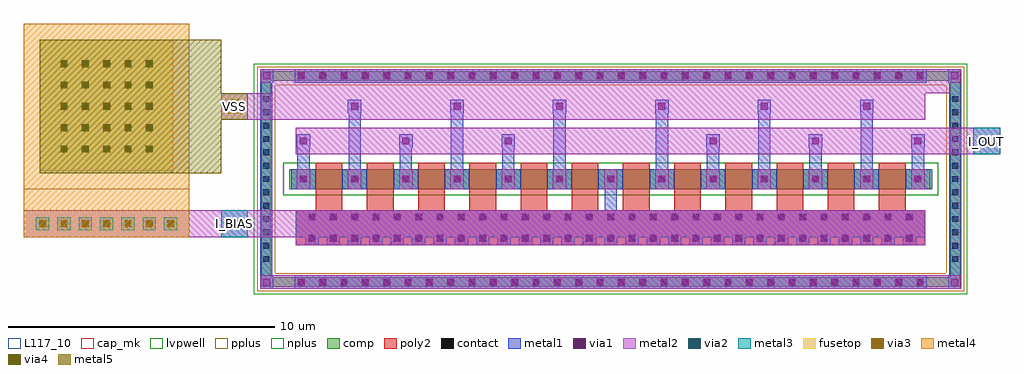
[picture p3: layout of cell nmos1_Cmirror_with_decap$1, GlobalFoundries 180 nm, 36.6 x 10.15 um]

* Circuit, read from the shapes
.subckt nmos1_Cmirror_with_decap$1 I_BIAS I_OUT VSS
XM1 VSS I_BIAS I_OUT VSS nfet_03v3 w=0.75u l=1u m=10
XM2 I_BIAS I_BIAS VSS VSS nfet_03v3 w=0.75u l=1u m=2
XC3 VSS I_BIAS cap_mim_2f0fF c_width=5u c_length=5u
.ends

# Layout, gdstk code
import gdstk
lib = gdstk.Library(unit=1e-6, precision=1e-09)
def R(c, l, rs):  # rectangles x0, y0, x1, y1
    for r in rs: c.add(gdstk.rectangle(r[:2], r[2:], *l))
def A(c, l, x, y, w, h, nx, ny, dx, dy):  # array of equal rectangles
    R(c, l, [(x+i*dx, y+j*dy, x+i*dx+w, y+j*dy+h) for i in range(nx) for j in range(ny)])
def P(c, l, *ps):  # polygons
    for p in ps: c.add(gdstk.Polygon(p, *l))
comp = (22, 0)
poly2 = (30, 0)
pplus = (31, 0)
nplus = (32, 0)
contact = (33, 0)
metal1 = (34, 0)
via1 = (35, 0)
metal2 = (36, 0)
via2 = (38, 0)
via3 = (40, 0)
via4 = (41, 0)
metal3 = (42, 0)
metal4 = (46, 0)
fusetop = (75, 0)
metal5 = (81, 0)
cap_mk = (117, 5)
L117_10 = (117, 10)
lvpwell = (204, 0)

cmirror_interdigitized_1 = lib.new_cell('cmirror_interdigitized$1$1')
A(cmirror_interdigitized_1, comp, -11.78, -4.045, 0.36, 0.36, 30, 2, 0.8, 7.73)
A(cmirror_interdigitized_1, comp, -13.1, -3.18, 0.36, 0.36, 1, 13, 0, 0.5)
A(cmirror_interdigitized_1, comp, 12.74, -3.18, 0.36, 0.36, 1, 13, 0, 0.5)
R(cmirror_interdigitized_1, comp, [(-11.78,-4.045,11.78,-3.685), (-13.1,-3.18,-12.74,3.18), (12.74,-3.18,13.1,3.18), (-12.05,-0.375,12.05,0.375), (-11.78,3.685,11.78,4.045)])
P(cmirror_interdigitized_1, comp, [(-13.1,-4.045),(-13.1,-3.685),(12.74,-3.685),(12.74,3.685),(-12.74,3.685),(-12.74,-3.685),(-13.1,-3.685),(-13.1,4.045),(13.1,4.045),(13.1,-4.045)])
A(cmirror_interdigitized_1, poly2, -11.38, -2.405, 0.36, 0.36, 29, 2, 0.8, 0.8)
A(cmirror_interdigitized_1, poly2, -11.06, -1.18, 1, 0.565, 12, 1, 1.92, 0)
A(cmirror_interdigitized_1, poly2, -11.06, -0.615, 1, 1.23, 12, 1, 1.92, 0)
R(cmirror_interdigitized_1, poly2, [(-11.8,-2.475,11.8,-1.175)])
P(cmirror_interdigitized_1, pplus, [(-13.26,-4.205),(-13.26,-3.525),(12.58,-3.525),(12.58,3.525),(-12.58,3.525),(-12.58,-3.525),(-13.26,-3.525),(-13.26,4.205),(13.26,4.205),(13.26,-4.205)])
R(cmirror_interdigitized_1, nplus, [(-12.28,-0.605,12.28,0.605)])
A(cmirror_interdigitized_1, contact, -11.71, -3.975, 0.22, 0.22, 30, 2, 0.8, 7.73)
A(cmirror_interdigitized_1, contact, -13.03, -3.11, 0.22, 0.22, 1, 13, 0, 0.5)
A(cmirror_interdigitized_1, contact, 12.81, -3.11, 0.22, 0.22, 1, 13, 0, 0.5)
A(cmirror_interdigitized_1, contact, -11.31, -2.335, 0.22, 0.22, 29, 2, 0.8, 0.8)
A(cmirror_interdigitized_1, contact, -11.63, -0.11, 0.22, 0.22, 13, 1, 1.92, 0)
A(cmirror_interdigitized_1, metal1, -11.85, -4.115, 0.5, 0.5, 30, 2, 0.8, 7.73)
A(cmirror_interdigitized_1, metal1, -13.15, -3.23, 0.46, 0.46, 1, 13, 0, 0.5)
A(cmirror_interdigitized_1, metal1, 12.69, -3.23, 0.46, 0.46, 1, 13, 0, 0.5)
A(cmirror_interdigitized_1, metal1, -11.45, -2.475, 0.5, 0.5, 29, 2, 0.8, 0.8)
A(cmirror_interdigitized_1, metal1, -11.98, -0.375, 0.92, 0.75, 13, 1, 1.92, 0)
A(cmirror_interdigitized_1, metal1, -11.75, -0.23, 0.46, 0.46, 13, 1, 1.92, 0)
A(cmirror_interdigitized_1, metal1, -11.75, 0.375, 0.46, 1.3, 3, 1, 3.84, 0)
A(cmirror_interdigitized_1, metal1, -9.83, 0.375, 0.46, 2.6, 6, 1, 3.84, 0)
A(cmirror_interdigitized_1, metal1, 3.61, 0.375, 0.46, 1.3, 3, 1, 3.84, 0)
A(cmirror_interdigitized_1, metal1, -11.77, 1.175, 0.5, 0.5, 3, 1, 3.84, 0)
A(cmirror_interdigitized_1, metal1, 3.59, 1.175, 0.5, 0.5, 3, 1, 3.84, 0)
A(cmirror_interdigitized_1, metal1, -9.85, 2.475, 0.5, 0.5, 6, 1, 3.84, 0)
R(cmirror_interdigitized_1, metal1, [(-13.15,-4.115,-12.65,-3.615), (-13.15,-4.115,-12.65,-3.615), (-13.15,-4.115,-12.69,-3.685), (-11.85,-4.115,11.85,-3.615), (12.65,-4.115,13.15,-3.615), (12.65,-4.115,13.15,-3.615), (12.69,-4.115,13.15,-3.685), (-13.15,-3.685,-12.69,3.685), (12.69,-3.685,13.15,3.685), (-11.8,-2.175,11.8,-1.175), (-0.23,-1.175,0.23,-0.375), (-11.77,-0.25,-11.27,0.25), (-11.77,-0.25,-11.27,0.25), (-9.85,-0.25,-9.35,0.25), (-9.85,-0.25,-9.35,0.25), (-7.93,-0.25,-7.43,0.25), (-7.93,-0.25,-7.43,0.25), (-6.01,-0.25,-5.51,0.25), (-6.01,-0.25,-5.51,0.25), (-4.09,-0.25,-3.59,0.25), (-4.09,-0.25,-3.59,0.25), (-2.17,-0.25,-1.67,0.25), (-2.17,-0.25,-1.67,0.25), (-0.25,-0.25,0.25,0.25), (-0.25,-0.25,0.25,0.25), (1.67,-0.25,2.17,0.25), (1.67,-0.25,2.17,0.25), (3.59,-0.25,4.09,0.25), (3.59,-0.25,4.09,0.25), (5.51,-0.25,6.01,0.25), (5.51,-0.25,6.01,0.25), (7.43,-0.25,7.93,0.25), (7.43,-0.25,7.93,0.25), (9.35,-0.25,9.85,0.25), (9.35,-0.25,9.85,0.25), (11.27,-0.25,11.77,0.25), (11.27,-0.25,11.77,0.25), (-13.15,3.615,-12.65,4.115), (-13.15,3.615,-12.65,4.115), (-11.85,3.615,11.85,4.115), (12.65,3.615,13.15,4.115), (12.65,3.615,13.15,4.115), (-13.15,3.685,-12.69,4.115), (12.69,3.685,13.15,4.115)])
A(cmirror_interdigitized_1, via1, -11.73, -3.995, 0.26, 0.26, 30, 2, 0.8, 7.73)
A(cmirror_interdigitized_1, via1, -11.33, -2.355, 0.26, 0.26, 29, 2, 0.8, 0.8)
A(cmirror_interdigitized_1, via1, -11.65, -0.13, 0.26, 0.26, 13, 1, 1.92, 0)
A(cmirror_interdigitized_1, via1, -11.65, 1.295, 0.26, 0.26, 3, 1, 3.84, 0)
A(cmirror_interdigitized_1, via1, 3.71, 1.295, 0.26, 0.26, 3, 1, 3.84, 0)
A(cmirror_interdigitized_1, via1, -9.73, 2.595, 0.26, 0.26, 6, 1, 3.84, 0)
R(cmirror_interdigitized_1, via1, [(-13.03,-3.995,-12.77,-3.735), (12.77,-3.995,13.03,-3.735), (-13.03,3.735,-12.77,3.995), (12.77,3.735,13.03,3.995)])
A(cmirror_interdigitized_1, metal2, -11.85, -4.115, 0.5, 0.5, 30, 2, 0.8, 7.73)
A(cmirror_interdigitized_1, metal2, -11.45, -2.475, 0.5, 0.5, 29, 2, 0.8, 0.8)
A(cmirror_interdigitized_1, metal2, -11.77, -0.375, 0.5, 0.75, 13, 1, 1.92, 0)
A(cmirror_interdigitized_1, metal2, -11.77, -0.25, 0.5, 0.5, 13, 1, 1.92, 0)
A(cmirror_interdigitized_1, metal2, -11.77, 1.175, 0.5, 0.5, 3, 1, 3.84, 0)
A(cmirror_interdigitized_1, metal2, 3.59, 1.175, 0.5, 0.5, 3, 1, 3.84, 0)
A(cmirror_interdigitized_1, metal2, -9.85, 2.475, 0.5, 0.5, 6, 1, 3.84, 0)
R(cmirror_interdigitized_1, metal2, [(-13.15,-4.115,-12.65,-3.615), (-13.15,-4.115,-12.65,-3.615), (-13.15,-4.115,-12.74,-3.615), (-12.74,-4.115,12.74,-3.615), (12.65,-4.115,13.15,-3.615), (12.65,-4.115,13.15,-3.615), (12.74,-4.115,13.15,-3.615), (-11.8,-2.475,11.8,-1.175), (-11.8,-2.175,11.8,-1.175), (-11.8,0.925,11.8,1.925), (-11.8,2.225,11.8,3.225), (-12.74,3.225,12.74,4.115), (-13.15,3.615,-12.65,4.115), (-13.15,3.615,-12.65,4.115), (-13.15,3.615,-12.74,4.115), (-12.74,3.615,12.74,4.115), (12.65,3.615,13.15,4.115), (12.65,3.615,13.15,4.115), (12.74,3.615,13.15,4.115)])
R(cmirror_interdigitized_1, lvpwell, [(-13.38,-4.325,13.38,4.325)])

via_array_6f2c13fe = lib.new_cell('via_array_6f2c13fe')
R(via_array_6f2c13fe, metal2, [(-0.5,-0.5,0.5,0.5), (-0.25,-0.25,0.25,0.25)])
R(via_array_6f2c13fe, via2, [(-0.13,-0.13,0.13,0.13)])
R(via_array_6f2c13fe, metal3, [(-0.5,-0.5,0.5,0.5), (-0.25,-0.25,0.25,0.25)])

via_array_6f2c13fe_1 = lib.new_cell('via_array_6f2c13fe$1')
R(via_array_6f2c13fe_1, metal2, [(-0.5,-0.5,0.5,0.5), (-0.25,-0.25,0.25,0.25)])
R(via_array_6f2c13fe_1, via2, [(-0.13,-0.13,0.13,0.13)])
R(via_array_6f2c13fe_1, metal3, [(-0.5,-0.5,0.5,0.5), (-0.25,-0.25,0.25,0.25)])

via_array_3a42d9f3 = lib.new_cell('via_array_3a42d9f3')
R(via_array_3a42d9f3, metal2, [(-0.5,-0.5,0.5,0.5), (-0.25,-0.25,0.25,0.25)])
R(via_array_3a42d9f3, via2, [(-0.13,-0.13,0.13,0.13)])
R(via_array_3a42d9f3, via3, [(-0.13,-0.13,0.13,0.13)])
R(via_array_3a42d9f3, via4, [(-0.13,-0.13,0.13,0.13)])
R(via_array_3a42d9f3, metal3, [(-0.25,-0.25,0.25,0.25)])
R(via_array_3a42d9f3, metal4, [(-0.25,-0.25,0.25,0.25)])
R(via_array_3a42d9f3, metal5, [(-0.5,-0.5,0.5,0.5), (-0.25,-0.25,0.25,0.25)])

straight_route_e8dce293_ = lib.new_cell('straight_route_e8dce293$2')
R(straight_route_e8dce293_, metal2, [(-14.6,-2.175,-11.8,-1.175)])

straight_route_c1bb10ef_ = lib.new_cell('straight_route_c1bb10ef$2')
R(straight_route_c1bb10ef_, metal2, [(-11.8,0.925,13.6,1.925)])

straight_route_cb461078_ = lib.new_cell('straight_route_cb461078$2')
R(straight_route_cb461078_, metal2, [(-14.6,2.225,-11.8,3.225)])

unnamed_3026f522 = lib.new_cell('Unnamed_3026f522')
A(unnamed_3026f522, via4, -1.73, -1.73, 0.26, 0.26, 5, 5, 0.8, 0.8)
R(unnamed_3026f522, metal4, [(-3.1,-3.1,3.1,3.1)])
R(unnamed_3026f522, fusetop, [(-2.5,-2.5,2.5,2.5)])
A(unnamed_3026f522, metal5, -1.85, -1.85, 0.5, 0.5, 5, 5, 0.8, 0.8)
R(unnamed_3026f522, metal5, [(-2.5,-2.5,2.5,2.5)])
R(unnamed_3026f522, cap_mk, [(-3.1,-3.1,3.1,3.1)])
R(unnamed_3026f522, L117_10, [(-2.5,-2.5,2.5,-2.4)])

straight_route_60cdb093_ = lib.new_cell('straight_route_60cdb093$2')
R(straight_route_60cdb093_, metal5, [(-16.4,0.225,-14.6,5.225)])

l_route_9825ad4f_2 = lib.new_cell('L_route_9825ad4f$2')
A(l_route_9825ad4f_2, metal2, -21.55, -1.925, 0.5, 0.5, 7, 1, 0.8, 0)
R(l_route_9825ad4f_2, metal2, [(-22,-2.175,-14.6,-1.175), (-21.55,-1.925,-16.25,-1.425)])
A(l_route_9825ad4f_2, via2, -21.43, -1.805, 0.26, 0.26, 7, 1, 0.8, 0)
A(l_route_9825ad4f_2, via3, -21.43, -1.805, 0.26, 0.26, 7, 1, 0.8, 0)
A(l_route_9825ad4f_2, metal3, -21.55, -1.925, 0.5, 0.5, 7, 1, 0.8, 0)
A(l_route_9825ad4f_2, metal4, -21.55, -1.925, 0.5, 0.5, 7, 1, 0.8, 0)
R(l_route_9825ad4f_2, metal4, [(-22,-2.175,-15.8,-1.175), (-22,-2.175,-15.8,-0.375)])

nmos1_cmirror_with_decap = lib.new_cell('nmos1_Cmirror_with_decap$1')
nmos1_cmirror_with_decap.add(gdstk.Reference(cmirror_interdigitized_1, (0,0)))
nmos1_cmirror_with_decap.add(gdstk.Reference(via_array_6f2c13fe, (-14.1,-1.675)))
nmos1_cmirror_with_decap.add(gdstk.Reference(via_array_6f2c13fe_1, (14.1,1.425)))
nmos1_cmirror_with_decap.add(gdstk.Reference(via_array_3a42d9f3, (-14.1,2.725)))
nmos1_cmirror_with_decap.add(gdstk.Reference(straight_route_e8dce293_, (0,0)))
nmos1_cmirror_with_decap.add(gdstk.Reference(straight_route_c1bb10ef_, (0,0)))
nmos1_cmirror_with_decap.add(gdstk.Reference(straight_route_cb461078_, (0,0)))
nmos1_cmirror_with_decap.add(gdstk.Reference(unnamed_3026f522, (-18.9,2.725)))
nmos1_cmirror_with_decap.add(gdstk.Reference(straight_route_60cdb093_, (0,0)))
nmos1_cmirror_with_decap.add(gdstk.Reference(l_route_9825ad4f_2, (0,0)))
nmos1_cmirror_with_decap.add(gdstk.Label('I_BIAS', (-14.1,-1.675), layer=42, texttype=10))
nmos1_cmirror_with_decap.add(gdstk.Label('I_OUT', (14.1,1.425), layer=42, texttype=10))
nmos1_cmirror_with_decap.add(gdstk.Label('VSS', (-14.1,2.725), layer=81, texttype=10))

lib.write_gds('nmos1_Cmirror_with_decap_1.gds')
